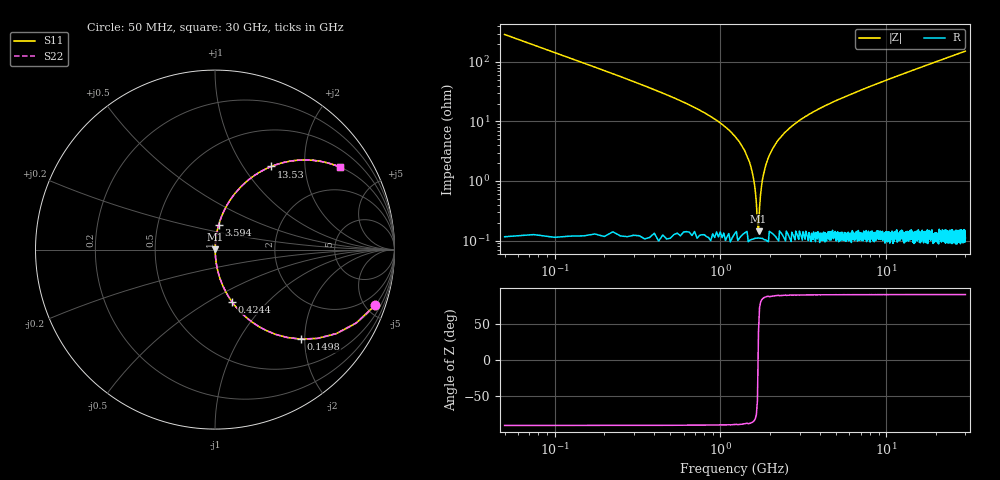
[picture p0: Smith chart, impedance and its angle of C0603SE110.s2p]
!	AVX Thin Film Operation 	Date: April 2014
!	Description: Accu-P® Series, Thin Film  SMD RF Capacitor
!	Part Number: 06035J110FBSTR
# MHZ S MA R 50
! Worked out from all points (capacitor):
!   1201 points, 50 MHz to 30 GHz, reference 50 ohm
!   read as one part in series: C = 11 pF near 199.8 MHz
!   lowest |Z| = 143 mohm at 1.697 GHz (marker M1)
!   series resonance near 1.688 GHz, so ESL is about 810 pH
!   S11 on the Smith chart (normalised r, x): 50 MHz: 1.00, -5.78; 149.8 MHz: 1.00, -1.92; 424.4 MHz: 1.00, -0.64; 3.594 GHz: 1.00, +0.29; 13.53 GHz: 1.00, +1.35; 30 GHz: 1.00, +3.04
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50  0.945 -19.1  0.327 70.9  0.327 70.9  0.945 -19.1
149.833  0.691 -46.2  0.722 43.7  0.722 43.7  0.691 -46.2
274.625  0.456 -62.7  0.889 27.1  0.889 27.1  0.456 -62.7
424.375  0.304 -72.1  0.952 17.7  0.952 17.7  0.304 -72.1
748.833  0.153 -80.7  0.987 8.8  0.987 8.8  0.153 -80.7
1272.958  0.049 -85.8  0.998 2.8  0.998 2.8  0.049 -85.8
1447.667  0.026 -85.9  0.998 1.5  0.998 1.5  0.026 -85.9
1597.417  0.009548 -82.2  0.999 0.5  0.999 0.5  0.009548 -82.2
1697.25  0.001505 37.2  0.999 -0.1  0.999 -0.1  0.001505 37.2
1797.083  0.011 83.0  0.999 -0.6  0.999 -0.6  0.011 83.0
1896.917  0.02 85.4  0.999 -1.1  0.999 -1.1  0.02 85.4
1996.75  0.029 86.0  0.998 -1.7  0.998 -1.7  0.029 86.0
2271.292  0.051 85.7  0.997 -3.0  0.997 -3.0  0.051 85.7
2770.458  0.088 84.2  0.995 -5.0  0.995 -5.0  0.088 84.2
3594.083  0.141 81.4  0.989 -8.1  0.989 -8.1  0.141 81.4
5041.667  0.221 76.9  0.974 -12.8  0.974 -12.8  0.221 76.9
10058.29  0.444 63.5  0.895 -26.4  0.895 -26.4  0.444 63.5
13527.5  0.56 55.9  0.828 -34.0  0.828 -34.0  0.56 55.9
15025  0.601 53.0  0.798 -37.0  0.798 -37.0  0.601 53.0
20016.67  0.71 44.7  0.704 -45.2  0.704 -45.2  0.71 44.7
25033.29  0.784 38.3  0.62 -51.6  0.62 -51.6  0.784 38.3
30000  0.835 33.4  0.55 -56.6  0.55 -56.6  0.835 33.4
